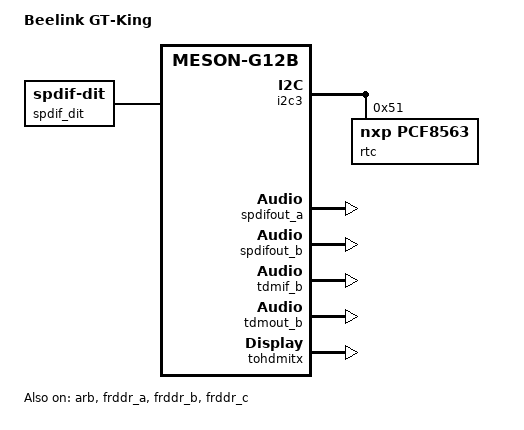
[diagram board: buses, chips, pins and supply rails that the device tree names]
// SPDX-License-Identifier: (GPL-2.0+ OR MIT)
/*
 * Copyright (c) 2019 BayLibre, SAS
 * Author: Neil Armstrong <narmstrong@baylibre.com>
 * Copyright (c) 2019 Christian Hewitt <christianshewitt@gmail.com>
 */

/dts-v1/;

#include "meson-g12b-w400.dtsi"
#include <dt-bindings/sound/meson-g12a-tohdmitx.h>

/ {
	compatible = "azw,gtking", "amlogic,s922x", "amlogic,g12b";
	model = "Beelink GT-King";

	aliases {
		rtc0 = &rtc;
		rtc1 = &vrtc;
	};

	spdif_dit: audio-codec-1 {
		#sound-dai-cells = <0>;
		compatible = "linux,spdif-dit";
		sound-name-prefix = "DIT";
	};

	sound {
		compatible = "amlogic,axg-sound-card";
		model = "GTKING";
		audio-aux-devs = <&tdmout_b>;
		audio-routing = "TDMOUT_B IN 0", "FRDDR_A OUT 1",
				"TDMOUT_B IN 1", "FRDDR_B OUT 1",
				"TDMOUT_B IN 2", "FRDDR_C OUT 1",
				"TDM_B Playback", "TDMOUT_B OUT",
				"SPDIFOUT_A IN 0", "FRDDR_A OUT 3",
				"SPDIFOUT_A IN 1", "FRDDR_B OUT 3",
				"SPDIFOUT_A IN 2", "FRDDR_C OUT 3";

		clocks = <&clkc CLKID_MPLL2>,
			 <&clkc CLKID_MPLL0>,
			 <&clkc CLKID_MPLL1>;

		assigned-clocks = <&clkc CLKID_MPLL2>,
				  <&clkc CLKID_MPLL0>,
				  <&clkc CLKID_MPLL1>;
		assigned-clock-parents = <0>, <0>, <0>;
		assigned-clock-rates = <294912000>,
				       <270950400>,
				       <393216000>;

		dai-link-0 {
			sound-dai = <&frddr_a>;
		};

		dai-link-1 {
			sound-dai = <&frddr_b>;
		};

		dai-link-2 {
			sound-dai = <&frddr_c>;
		};

		/* 8ch hdmi interface */
		dai-link-3 {
			sound-dai = <&tdmif_b>;
			dai-format = "i2s";
			dai-tdm-slot-tx-mask-0 = <1 1>;
			dai-tdm-slot-tx-mask-1 = <1 1>;
			dai-tdm-slot-tx-mask-2 = <1 1>;
			dai-tdm-slot-tx-mask-3 = <1 1>;
			mclk-fs = <256>;

			codec {
				sound-dai = <&tohdmitx TOHDMITX_I2S_IN_B>;
			};
		};

		/* spdif hdmi or toslink interface */
		dai-link-4 {
			sound-dai = <&spdifout_a>;

			codec-0 {
				sound-dai = <&spdif_dit>;
			};

			codec-1 {
				sound-dai = <&tohdmitx TOHDMITX_SPDIF_IN_A>;
			};
		};

		/* spdif hdmi interface */
		dai-link-5 {
			sound-dai = <&spdifout_b>;

			codec {
				sound-dai = <&tohdmitx TOHDMITX_SPDIF_IN_B>;
			};
		};

		/* hdmi glue */
		dai-link-6 {
			sound-dai = <&tohdmitx TOHDMITX_I2S_OUT>;

			codec {
				sound-dai = <&hdmi_tx>;
			};
		};
	};
};

&arb {
	status = "okay";
};

&clkc_audio {
	status = "okay";
};

&frddr_a {
	status = "okay";
};

&frddr_b {
	status = "okay";
};

&frddr_c {
	status = "okay";
};


&i2c3 {
	status = "okay";
	pinctrl-0 = <&i2c3_sda_a_pins>, <&i2c3_sck_a_pins>;
	pinctrl-names = "default";

	rtc: rtc@51 {
		compatible = "nxp,pcf8563";
		reg = <0x51>;
		wakeup-source;
	};
};

&spdifout_a {
	pinctrl-0 = <&spdif_out_h_pins>;
	pinctrl-names = "default";
	status = "okay";
};

&spdifout_b {
	status = "okay";
};

&tdmif_b {
	status = "okay";
};

&tdmout_b {
	status = "okay";
};

&tohdmitx {
	status = "okay";
};
